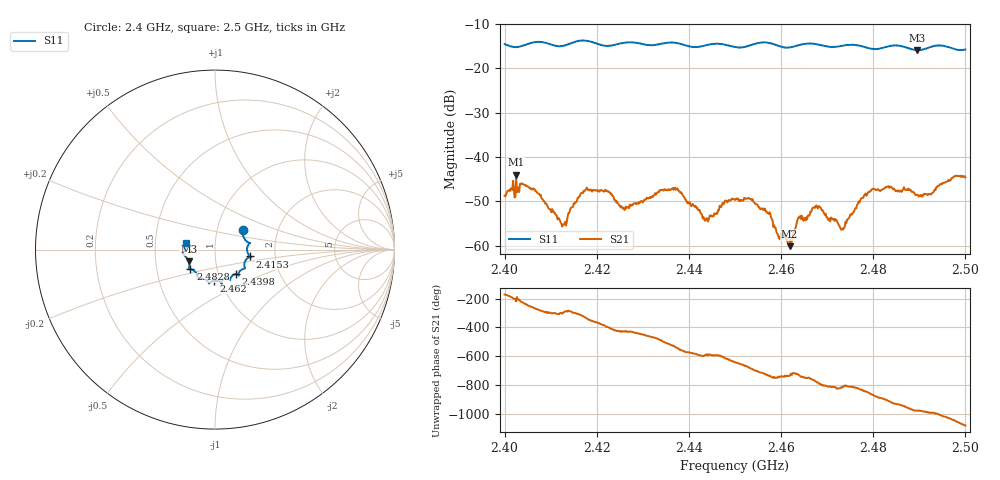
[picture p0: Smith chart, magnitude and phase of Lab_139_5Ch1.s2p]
# Hz S RI R
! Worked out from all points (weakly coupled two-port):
!   601 points, 2.4 GHz to 2.5 GHz, reference 50 ohm
!   highest |S21| = -43.95 dB at 2.4025 GHz (marker M1); lowest = -60.1 dB at 2.4618 GHz (marker M2)
!   lowest |S11| = -15.9 dB at 2.4895 GHz (marker M3), VSWR 1.38, Z = 36.9 - j4.99 ohm
!   |S11| at or under -10 dB: start of sweep to end of sweep
!   S12 and S22 are empty: the file has one direction only
!   S11 on the Smith chart (normalised r, x): 2.4 GHz: 1.33, +0.29; 2.4153 GHz: 1.48, -0.12; 2.4398 GHz: 1.21, -0.34; 2.462 GHz: 0.93, -0.33; 2.4828 GHz: 0.74, -0.17; 2.5 GHz: 0.72, +0.06
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2.4e9  0.1553 0.1067  -0.00363 -0.000485  0 0  0 0
2.4025e9  0.1611 0.0663  -0.00486 0.00408  0 0  0 0
2.406667e9  0.195 0.0377  -0.000167 0.00412  0 0  0 0
2.412833e9  0.1802 -0.012  0.000745 0.00157  0 0  0 0
2.415333e9  0.1964 -0.0384  0.00155 0.00267  0 0  0 0
2.416667e9  0.2024 -0.0424  0.00287 0.00267  0 0  0 0
2.422333e9  0.1662 -0.0682  0.00327 -0.00244  0 0  0 0
2.426e9  0.1672 -0.1011  0.000909 -0.00236  0 0  0 0
2.433333e9  0.1309 -0.1339  -0.00214 -0.00342  0 0  0 0
2.439833e9  0.1154 -0.1365  -0.00262 0.00165  0 0  0 0
2.443833e9  0.0857 -0.1622  -0.0014 0.00149  0 0  0 0
2.45e9  0.0648 -0.1622  0.000672 0.0032  0 0  0 0
2.457e9  0.0393 -0.1919  0.00231 -0.000337  0 0  0 0
2.461833e9  -0.00273 -0.1725  0.000945 -0.000278  0 0  0 0
2.462e9  -0.00504 -0.1731  0.00114 -0.000193  0 0  0 0
2.466667e9  -0.0342 -0.188  0.00195 -0.0016  0 0  0 0
2.473333e9  -0.0827 -0.1604  -0.000151 -0.00155  0 0  0 0
2.477833e9  -0.0982 -0.1466  -0.00176 -0.00299  0 0  0 0
2.482833e9  -0.1365 -0.1095  -0.00454 0.000225  0 0  0 0
2.483333e9  -0.1404 -0.1092  -0.00462 0.000805  0 0  0 0
2.4895e9  -0.1463 -0.0658  -0.000894 0.00365  0 0  0 0
2.5e9  -0.1592 0.039  0.00585 2.01e-06  0 0  0 0
